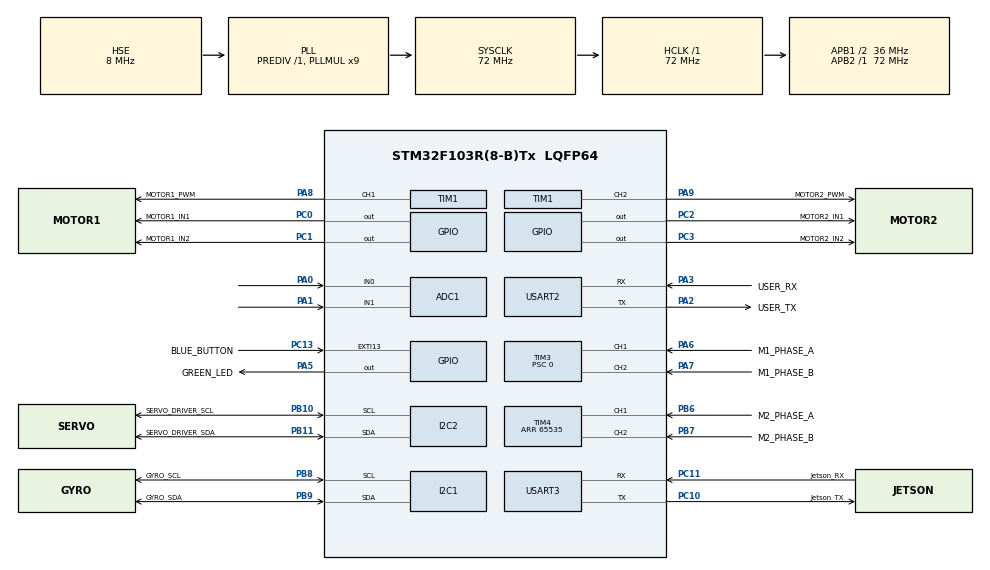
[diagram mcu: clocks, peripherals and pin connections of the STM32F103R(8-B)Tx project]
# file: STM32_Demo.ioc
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ADC1.Channel-0\#ChannelRegularConversion=ADC_CHANNEL_0
ADC1.Channel-1\#ChannelRegularConversion=ADC_CHANNEL_1
ADC1.NbrOfConversion=2
ADC1.NbrOfConversionFlag=1
ADC1.Rank-0\#ChannelRegularConversion=1
ADC1.Rank-1\#ChannelRegularConversion=2
ADC1.SamplingTime-0\#ChannelRegularConversion=ADC_SAMPLETIME_1CYCLE_5
ADC1.SamplingTime-1\#ChannelRegularConversion=ADC_SAMPLETIME_1CYCLE_5
ADC1.master=1
Dma.ADC1.0.Direction=DMA_PERIPH_TO_MEMORY
Dma.ADC1.0.Instance=DMA1_Channel1
Dma.ADC1.0.MemDataAlignment=DMA_MDATAALIGN_WORD
Dma.ADC1.0.MemInc=DMA_MINC_ENABLE
Dma.ADC1.0.Mode=DMA_CIRCULAR
Dma.ADC1.0.PeriphDataAlignment=DMA_PDATAALIGN_WORD
Dma.ADC1.0.PeriphInc=DMA_PINC_DISABLE
Dma.ADC1.0.Priority=DMA_PRIORITY_LOW
Dma.Request0=ADC1
Dma.Request1=USART3_RX
Dma.USART3_RX.1.Direction=DMA_PERIPH_TO_MEMORY
Dma.USART3_RX.1.Instance=DMA1_Channel3
Dma.USART3_RX.1.MemDataAlignment=DMA_MDATAALIGN_BYTE
Dma.USART3_RX.1.MemInc=DMA_MINC_ENABLE
Dma.USART3_RX.1.Mode=DMA_NORMAL
Dma.USART3_RX.1.PeriphDataAlignment=DMA_PDATAALIGN_BYTE
Dma.USART3_RX.1.PeriphInc=DMA_PINC_DISABLE
Dma.USART3_RX.1.Priority=DMA_PRIORITY_VERY_HIGH
IWDG.Prescaler=IWDG_PRESCALER_32
Mcu.Family=STM32F1
Mcu.Name=STM32F103R(8-B)Tx
Mcu.Package=LQFP64
NVIC.DMA1_Channel1_IRQn=true\:0\:0\:false\:false\:true\:false\:true
NVIC.DMA1_Channel3_IRQn=true\:0\:0\:false\:false\:true\:false\:true
NVIC.EXTI15_10_IRQn=true\:0\:0\:false\:false\:true\:true\:true
NVIC.PriorityGroup=NVIC_PRIORITYGROUP_4
NVIC.TIM2_IRQn=true\:0\:0\:false\:false\:true\:true\:true
NVIC.USART3_IRQn=true\:0\:0\:false\:false\:true\:true\:true
PA0-WKUP.Signal=ADCx_IN0
PA1.Signal=ADCx_IN1
PA13.GPIO_Label=TMS
PA13.Mode=Serial_Wire
PA13.Signal=SYS_JTMS-SWDIO
PA14.GPIO_Label=TCK
PA14.Mode=Serial_Wire
PA14.Signal=SYS_JTCK-SWCLK
PA2.GPIO_Label=USER_TX
PA2.GPIO_Mode=GPIO_MODE_AF_PP
PA2.GPIO_PuPd=GPIO_NOPULL
PA2.GPIO_Speed=GPIO_SPEED_FREQ_LOW
PA2.Mode=Asynchronous
PA2.Signal=USART2_TX
PA3.GPIO_Label=USER_RX
PA3.GPIO_Mode=GPIO_MODE_AF_PP
PA3.GPIO_PuPd=GPIO_NOPULL
PA3.GPIO_Speed=GPIO_SPEED_FREQ_LOW
PA3.Mode=Asynchronous
PA3.Signal=USART2_RX
PA5.GPIO_Label=GREEN_LED
PA5.GPIO_ModeDefaultOutputPP=GPIO_MODE_OUTPUT_PP
PA5.GPIO_PuPd=GPIO_NOPULL
PA5.GPIO_Speed=GPIO_SPEED_FREQ_LOW
PA5.Signal=GPIO_Output
PA6.GPIO_Label=M1_PHASE_A
PA6.Signal=S_TIM3_CH1
PA7.GPIO_Label=M1_PHASE_B
PA7.Signal=S_TIM3_CH2
PA8.GPIO_Label=MOTOR1_PWM
PA8.Signal=S_TIM1_CH1
PA9.GPIO_Label=MOTOR2_PWM
PA9.Signal=S_TIM1_CH2
PB10.GPIO_Label=SERVO_DRIVER_SCL
PB10.Mode=I2C
PB10.Signal=I2C2_SCL
PB11.GPIO_Label=SERVO_DRIVER_SDA
PB11.Mode=I2C
PB11.Signal=I2C2_SDA
PB6.GPIO_Label=M2_PHASE_A
PB6.Signal=S_TIM4_CH1
PB7.GPIO_Label=M2_PHASE_B
PB7.Signal=S_TIM4_CH2
PB8.GPIO_Label=GYRO_SCL
PB8.Mode=I2C
PB8.Signal=I2C1_SCL
PB9.GPIO_Label=GYRO_SDA
PB9.Mode=I2C
PB9.Signal=I2C1_SDA
PC0.GPIO_Label=MOTOR1_IN1
PC0.Signal=GPIO_Output
PC1.GPIO_Label=MOTOR1_IN2
PC1.Signal=GPIO_Output
PC10.GPIO_Label=Jetson_TX
PC10.Mode=Asynchronous
PC10.Signal=USART3_TX
PC11.GPIO_Label=Jetson_RX
PC11.Mode=Asynchronous
PC11.Signal=USART3_RX
PC13-TAMPER-RTC.GPIO_Label=BLUE_BUTTON
PC13-TAMPER-RTC.GPIO_PuPd=GPIO_NOPULL
PC13-TAMPER-RTC.Signal=GPXTI13
PC14-OSC32_IN.Mode=LSE-External-Oscillator
PC14-OSC32_IN.Signal=RCC_OSC32_IN
PC15-OSC32_OUT.Mode=LSE-External-Oscillator
PC15-OSC32_OUT.Signal=RCC_OSC32_OUT
PC2.GPIO_Label=MOTOR2_IN1
PC2.Signal=GPIO_Output
PC3.GPIO_Label=MOTOR2_IN2
PC3.Signal=GPIO_Output
PD0-OSC_IN.Mode=HSE-External-Clock-Source
PD0-OSC_IN.Signal=RCC_OSC_IN
PD1-OSC_OUT.Mode=HSE-External-Clock-Source
PD1-OSC_OUT.Signal=RCC_OSC_OUT
ProjectManager.HeapSize=0x200
ProjectManager.StackSize=0x400
ProjectManager.TargetToolchain=MDK-ARM V5
RCC.ADCPresc=RCC_ADCPCLK2_DIV6
RCC.AHBFreq_Value=72000000
RCC.APB1CLKDivider=RCC_HCLK_DIV2
RCC.APB1Freq_Value=36000000
RCC.APB1TimFreq_Value=72000000
RCC.APB2Freq_Value=72000000
RCC.APB2TimFreq_Value=72000000
RCC.HCLKFreq_Value=72000000
RCC.PLLMUL=RCC_PLL_MUL9
RCC.PLLSourceVirtual=RCC_PLLSOURCE_HSE
RCC.RTCClockSelection=RCC_RTCCLKSOURCE_LSE
RCC.SYSCLKFreq_VALUE=72000000
RCC.SYSCLKSource=RCC_SYSCLKSOURCE_PLLCLK
RCC.USBFreq_Value=72000000
SH.ADCx_IN0.0=ADC1_IN0,IN0
SH.ADCx_IN1.0=ADC1_IN1,IN1
SH.S_TIM1_CH1.0=TIM1_CH1,PWM Generation1 CH1
SH.S_TIM1_CH2.0=TIM1_CH2,PWM Generation2 CH2
SH.S_TIM3_CH1.0=TIM3_CH1,Encoder_Interface
SH.S_TIM3_CH2.0=TIM3_CH2,Encoder_Interface
SH.S_TIM4_CH1.0=TIM4_CH1,Encoder_Interface
SH.S_TIM4_CH2.0=TIM4_CH2,Encoder_Interface
TIM1.Channel-PWM\ Generation1\ CH1=TIM_CHANNEL_1
TIM1.Channel-PWM\ Generation2\ CH2=TIM_CHANNEL_2
TIM1.Period=3600
TIM1.Prescaler=20
TIM2.Period=709
TIM2.Prescaler=1024
TIM3.EncoderMode=TIM_ENCODERMODE_TI12
TIM3.IC1Filter=10
TIM3.IC2Filter=10
TIM3.Period=65535
TIM3.Prescaler=0
TIM4.EncoderMode=TIM_ENCODERMODE_TI12
TIM4.Period=65535
USART2.VirtualMode=VM_ASYNC
USART3.VirtualMode=VM_ASYNC
VP_IWDG_VS_IWDG.Mode=IWDG_Activate
VP_TIM1_VS_ClockSourceINT.Mode=Internal
VP_TIM2_VS_ClockSourceINT.Mode=Internal
board=NUCLEO-F103RB

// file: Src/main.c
/* USER CODE BEGIN Header */
/**
  ******************************************************************************
  * @file           : main.c
  * @brief          : Main program body
	* @author         : Chan Tai Wing Vincent
	* @remark         : Kindest people in the world
  ******************************************************************************
  * @attention
  *
  * <h2><center>&copy; Copyright (c) 2021 STMicroelectronics.
  * All rights reserved.</center></h2>
  *
  * This software component is licensed by ST under BSD 3-Clause license,
  * the "License"; You may not use this file except in compliance with the
  * License. You may obtain a copy of the License at:
  *                        opensource.org/licenses/BSD-3-Clause
  *
  ******************************************************************************
  */
/* USER CODE END Header */
#include "main.h"

/* USER CODE BEGIN Includes */
#include <string.h>
#include <stdio.h>
#include "stdbool.h"
#include "mpu6050.h"
#include "pca9685_servo.h"
/* USER CODE END Includes */

/* USER CODE BEGIN PTD */
#define MIN(x,y) ((x<y)?x:y)
#define MAX(x,y) (x>y ?x:y)
#define BUFFER_SIZE 15
/* USER CODE END PTD */

ADC_HandleTypeDef hadc1;
DMA_HandleTypeDef hdma_adc1;

I2C_HandleTypeDef hi2c1;
I2C_HandleTypeDef hi2c2;

IWDG_HandleTypeDef hiwdg;

TIM_HandleTypeDef htim1;
TIM_HandleTypeDef htim2;
TIM_HandleTypeDef htim3;
TIM_HandleTypeDef htim4;

UART_HandleTypeDef huart2;
UART_HandleTypeDef huart3;
DMA_HandleTypeDef hdma_usart3_rx;

/* USER CODE BEGIN PV */
//@Timer Variables
volatile int TIMER_COUNTER = 0;

//@GPU Message Variables
unsigned char UART_RX_BUFFER[BUFFER_SIZE] = {0};
unsigned char UART_TX_BUFFER[BUFFER_SIZE] = {0};

volatile int MSG_COUNTER = 0;
int LANE_DISTANCE = 0;
int TARGET_X = 0;
int TARGET_Y = 0;

volatile bool SAMPLE_FLAG = false;
enum TRAFFIC_TYPE{STOP,LEFT,RIGHT,UNKOWN};
enum TRAFFIC_TYPE TRAFFIC_STATUS = UNKOWN;
//@GPU Message Variables

//@Fuzzy Logic Stabilizer Varibles
MPU6050_t MPU6050;                           //Create MPU6050 Object

volatile bool MPU_Sampling = false;          //flag to control sampling of MPU6050
bool average_filter = false;                 //flag to control average filtering
bool plot_curve = true;                      //flag to enable/disable curve plotting

int counter = 0;                             //sample taking counter
const int num_samples = 200;                 //number of samples for taking average

double Kalman_X_buffer = 0;                  //Storing num_samples of Kalman_X to perform averaging
double Kalman_Y_buffer = 0;                  //Storing num_samples of Kalman_Y to perform averaging

double offset_x;                             //noise remoiving from Kalman_X
double offset_y;                             //noise removing from Kalman_Y

double X_output;                             //Resultant X
double Y_output;                             //Resultant Y

enum servo_motor_type{raw_servo=0,pitch_servo=2,steering_servo=3};       //Servo motor index related to PCA9685

const int raw_init_angle = 91;                          //Initial raw angle for stabilizer   (make X_output = 0)
const int pitch_init_angle = 98;                        //Initial pitch angle for stabilizer( make Y_output = 0)

const int pitch_max = 15;                               //Mechanical limitation (please confirm with ME designer)
const int pitch_min = -15;                              //Mechanical limitation (please confirm with ME designer)

const int raw_max = 15;                                 //Mechanical limitation (please confirm with ME designer)
const int raw_min = -15;                                //Mechanical limitation (please confirm with ME designer)

int adjust_servo_pitch = 0;		                          //Fuzzy Logic Output of pitch
int servo_control_pitch = pitch_init_angle;             //Operation angle of servo motor (pitch)
int servo_control_pitch_old = 0;                        //Previous operation angle of servo motor (pitch)

int adjust_servo_raw = 0;                               //Fuzzy Logic Output of raw
int servo_control_raw = raw_init_angle;                 //Operation angle of servo motor (raw)
int servo_control_raw_old = 0;                          //Previous operation angle of servo motor (raw)

/*
When pitch_init_angle + pitch_max => KalmanX = 15
When pitch_init_angle + pitch_min => KalmanX = -15
When raw_init_angle   + raw_max   => KalmanY = 15
When raw_init_angle   + raw_min   => KalmanY = -15
*/

//@Fuzzy Logic Stabilizer Varibles

/* USER CODE END PV */

void SystemClock_Config(void);
static void MX_GPIO_Init(void);
static void MX_DMA_Init(void);
static void MX_USART2_UART_Init(void);
static void MX_I2C2_Init(void);
static void MX_TIM2_Init(void);
static void MX_TIM3_Init(void);
static void MX_TIM4_Init(void);
static void MX_USART3_UART_Init(void);
static void MX_TIM1_Init(void);
static void MX_IWDG_Init(void);
static void MX_ADC1_Init(void);
static void MX_I2C1_Init(void);
/* USER CODE BEGIN PFP */
void gpu_msg_analyzer(void);

int calculate_MOTOR_PWM(unsigned char percentage);                              //Robot PWM Calculation
void robot_forward(int speed);                                                  //Robot Control -> Forward
void robot_stop(void);                                                          //Robot Control -> Stop
void robot_adjust(int motor1_speed, int motor2_speed);                          //Robot Control -> Adjustable

float trimf(float measurement, float start, float peak, float end);             //Fuzzy Logic: triangular membership function
float Rmf(float measurement, float top, float bottom);                          //Fuzzy Logic: R membership function
float Lmf(float measurement, float bottom, float top);                          //Fuzzy Logic: L membership function
float trapmf(float measurement, float start,float top_1,float top_2,float end); //Fuzzy Logic: trapezodial membership function

int raw_FLC(double error);                                                      //raw fuzzy logic controller
int pitch_FLC(double error);                                                    //pitch fuzzy logic controller
/* USER CODE END PFP */

/* USER CODE BEGIN 0 */
#ifdef __GNUC__
 #define PUTCHAR_PROTOTYPE int __io_putchar(int ch)
#else
 #define PUTCHAR_PROTOTYPE int fputc(int ch, FILE *f)
#endif /* __GNUC__ */
PUTCHAR_PROTOTYPE
{
	HAL_UART_Transmit(&huart2,(uint8_t*)&ch,1,0xFFFF);
	return ch;
}
/* USER CODE END 0 */

int main(void)
{

  /* MCU Configuration--------------------------------------------------------*/

  /* Reset of all peripherals, Initializes the Flash interface and the Systick. */
  HAL_Init();

  /* Configure the system clock */
  SystemClock_Config();

  /* Initialize all configured peripherals */
  MX_GPIO_Init();
  MX_DMA_Init();
  MX_USART2_UART_Init();
  MX_I2C2_Init();
  MX_TIM2_Init();
  MX_TIM3_Init();
  MX_TIM4_Init();
  MX_USART3_UART_Init();
  MX_TIM1_Init();
  MX_IWDG_Init();
  MX_ADC1_Init();
  MX_I2C1_Init();
  /* USER CODE BEGIN 2 */
  printf("[SYSTEM] Humane Help START...\r\n");                                     //Print startup function
	printf("[SYSTEM] Connecting to MPU6050...\r\n");

	HAL_UART_Receive_DMA(&huart3,UART_RX_BUFFER,BUFFER_SIZE);                       //Receive Jetson AI Message
  HAL_TIM_Base_Start_IT(&htim2);                                                  //Start Timer interrupt [100Hz]
	HAL_TIM_PWM_Start(&htim1,TIM_CHANNEL_1);                                        //PWM for Control Motor1
	HAL_TIM_PWM_Start(&htim1,TIM_CHANNEL_2);                                        //PWM for Control Motor2

	PCA9685_Go();                 //PCA9685 Initialization
	SetPWMFreq(50);               //Set Servo PWM Frequency
	setServo(0,calculate_PWM(0)); //Set Initial Angle
	HAL_Delay(200);               //Delay for SERVO response

	//Connect MPU6050
  //while (MPU6050_Init(&hi2c1) == 1);
	printf("[SYSTEM] MPU6050 Connected...\r\n");
  /* USER CODE END 2 */

  /* Infinite loop */
  /* USER CODE BEGIN WHILE */
  while (1)
  {
		//if(MPU_Sampling) //Enable MPU6050
		if(false)          //Disble MPU6050
		{
			//Read MPU6050 value and processed by Kalman Filter
      MPU6050_Read_All(&hi2c1,&MPU6050);
			//Average Filter
			if(!average_filter)
			{
				//When average filer is not executed
				Kalman_Y_buffer += MPU6050.KalmanAngleY;
				Kalman_X_buffer += MPU6050.KalmanAngleX;
				if(!plot_curve)
				{
				  printf("[LOG] Counter:%d | Kalman Filter: Enabled | Average Filter: Pending\r\n",counter);
				  printf("[LOG] X: %.2f degree | Y: %.2f degree\r\n",MPU6050.KalmanAngleX,MPU6050.KalmanAngleY);
				  printf("[SYSTEM]Please do not move your gyro sensor!\r\n");
				}else{
					printf("$%d %d;\r\n",(int)MPU6050.KalmanAngleX,(int)MPU6050.KalmanAngleY);
				}
			}else{
				//When average filter is ready
				X_output = MPU6050.KalmanAngleX - offset_x;
				Y_output = MPU6050.KalmanAngleY - offset_y;
				if(!plot_curve)
				{
				  printf("[LOG] Smoothed X: %.2f | Smoothed Y: %.2f\r\n",X_output,Y_output);
				}else{
					printf("$%d %d;\r\n",(int)X_output,(int)Y_output);
				}

				//Fuzzy Logic Balancing
				adjust_servo_pitch = pitch_FLC(X_output);
				servo_control_pitch += adjust_servo_pitch;

				adjust_servo_raw = raw_FLC(Y_output);
				servo_control_raw += adjust_servo_raw;

				//Protection (Pitch servo)
				if(servo_control_pitch>=(pitch_init_angle+pitch_max))
				{
					servo_control_pitch = pitch_init_angle+pitch_max;
				}
				if(servo_control_pitch<=(pitch_init_angle+pitch_min))
				{
					servo_control_pitch = pitch_init_angle+pitch_min;
				}
				//Protection (Raw servo)
				if(servo_control_raw>=(raw_init_angle+raw_max))
				{
					servo_control_raw = raw_init_angle+raw_max;
				}
				if(servo_control_raw<=(raw_init_angle+raw_min))
				{
					servo_control_raw = raw_init_angle+raw_min;
				}
				//Adjustment
				if(!plot_curve)	printf("servo_control[pitch]:%d   servo_control[raw]:%d\r\n",servo_control_pitch,servo_control_raw);
				setServo(pitch_servo,calculate_PWM(servo_control_pitch));
				setServo(raw_servo,calculate_PWM(servo_control_raw));
        HAL_Delay(200);
				servo_control_pitch_old = servo_control_pitch;
				servo_control_raw_old = servo_control_raw;
			}

			//Find average offset
			if((counter==num_samples)&&(!average_filter))
			{
				//These statements will only be executed once after taking num_samples, then disable.
				average_filter = true;
				offset_x = Kalman_X_buffer/num_samples;
				offset_y = Kalman_Y_buffer/num_samples;
			}
			printf("\r\n");
			counter++;
		}

		//Robot Control//
		robot_forward(30);

		//Robot Control//

    /* USER CODE END WHILE */

    /* USER CODE BEGIN 3 */
		HAL_IWDG_Refresh(&hiwdg); //Limit: 3.2 seconds
  }
  /* USER CODE END 3 */
}

void SystemClock_Config(void)
{
  RCC_OscInitTypeDef RCC_OscInitStruct = {0};
  RCC_ClkInitTypeDef RCC_ClkInitStruct = {0};
  RCC_PeriphCLKInitTypeDef PeriphClkInit = {0};

  /** Initializes the RCC Oscillators according to the specified parameters
  * in the RCC_OscInitTypeDef structure.
  */
  RCC_OscInitStruct.OscillatorType = RCC_OSCILLATORTYPE_LSI|RCC_OSCILLATORTYPE_HSE;
  RCC_OscInitStruct.HSEState = RCC_HSE_BYPASS;
  RCC_OscInitStruct.HSEPredivValue = RCC_HSE_PREDIV_DIV1;
  RCC_OscInitStruct.HSIState = RCC_HSI_ON;
  RCC_OscInitStruct.LSIState = RCC_LSI_ON;
  RCC_OscInitStruct.PLL.PLLState = RCC_PLL_ON;
  RCC_OscInitStruct.PLL.PLLSource = RCC_PLLSOURCE_HSE;
  RCC_OscInitStruct.PLL.PLLMUL = RCC_PLL_MUL9;
  if (HAL_RCC_OscConfig(&RCC_OscInitStruct) != HAL_OK)
  {
    Error_Handler();
  }
  /** Initializes the CPU, AHB and APB buses clocks
  */
  RCC_ClkInitStruct.ClockType = RCC_CLOCKTYPE_HCLK|RCC_CLOCKTYPE_SYSCLK
                              |RCC_CLOCKTYPE_PCLK1|RCC_CLOCKTYPE_PCLK2;
  RCC_ClkInitStruct.SYSCLKSource = RCC_SYSCLKSOURCE_PLLCLK;
  RCC_ClkInitStruct.AHBCLKDivider = RCC_SYSCLK_DIV1;
  RCC_ClkInitStruct.APB1CLKDivider = RCC_HCLK_DIV2;
  RCC_ClkInitStruct.APB2CLKDivider = RCC_HCLK_DIV1;

  if (HAL_RCC_ClockConfig(&RCC_ClkInitStruct, FLASH_LATENCY_2) != HAL_OK)
  {
    Error_Handler();
  }
  PeriphClkInit.PeriphClockSelection = RCC_PERIPHCLK_ADC;
  PeriphClkInit.AdcClockSelection = RCC_ADCPCLK2_DIV6;
  if (HAL_RCCEx_PeriphCLKConfig(&PeriphClkInit) != HAL_OK)
  {
    Error_Handler();
  }
}

static void MX_ADC1_Init(void)
{

  ADC_ChannelConfTypeDef sConfig = {0};

  /** Common config
  */
  hadc1.Instance = ADC1;
  hadc1.Init.ScanConvMode = ADC_SCAN_ENABLE;
  hadc1.Init.ContinuousConvMode = DISABLE;
  hadc1.Init.DiscontinuousConvMode = DISABLE;
  hadc1.Init.ExternalTrigConv = ADC_SOFTWARE_START;
  hadc1.Init.DataAlign = ADC_DATAALIGN_RIGHT;
  hadc1.Init.NbrOfConversion = 2;
  if (HAL_ADC_Init(&hadc1) != HAL_OK)
  {
    Error_Handler();
  }
  /** Configure Regular Channel
  */
  sConfig.Channel = ADC_CHANNEL_0;
  sConfig.Rank = ADC_REGULAR_RANK_1;
  sConfig.SamplingTime = ADC_SAMPLETIME_1CYCLE_5;
  if (HAL_ADC_ConfigChannel(&hadc1, &sConfig) != HAL_OK)
  {
    Error_Handler();
  }
  /** Configure Regular Channel
  */
  sConfig.Channel = ADC_CHANNEL_1;
  sConfig.Rank = ADC_REGULAR_RANK_2;
  if (HAL_ADC_ConfigChannel(&hadc1, &sConfig) != HAL_OK)
  {
    Error_Handler();
  }

}

static void MX_I2C1_Init(void)
{

  hi2c1.Instance = I2C1;
  hi2c1.Init.ClockSpeed = 100000;
  hi2c1.Init.DutyCycle = I2C_DUTYCYCLE_2;
  hi2c1.Init.OwnAddress1 = 0;
  hi2c1.Init.AddressingMode = I2C_ADDRESSINGMODE_7BIT;
  hi2c1.Init.DualAddressMode = I2C_DUALADDRESS_DISABLE;
  hi2c1.Init.OwnAddress2 = 0;
  hi2c1.Init.GeneralCallMode = I2C_GENERALCALL_DISABLE;
  hi2c1.Init.NoStretchMode = I2C_NOSTRETCH_DISABLE;
  if (HAL_I2C_Init(&hi2c1) != HAL_OK)
  {
    Error_Handler();
  }

}

static void MX_I2C2_Init(void)
{

  hi2c2.Instance = I2C2;
  hi2c2.Init.ClockSpeed = 100000;
  hi2c2.Init.DutyCycle = I2C_DUTYCYCLE_2;
  hi2c2.Init.OwnAddress1 = 0;
  hi2c2.Init.AddressingMode = I2C_ADDRESSINGMODE_7BIT;
  hi2c2.Init.DualAddressMode = I2C_DUALADDRESS_DISABLE;
  hi2c2.Init.OwnAddress2 = 0;
  hi2c2.Init.GeneralCallMode = I2C_GENERALCALL_DISABLE;
  hi2c2.Init.NoStretchMode = I2C_NOSTRETCH_DISABLE;
  if (HAL_I2C_Init(&hi2c2) != HAL_OK)
  {
    Error_Handler();
  }

}

static void MX_IWDG_Init(void)
{

  hiwdg.Instance = IWDG;
  hiwdg.Init.Prescaler = IWDG_PRESCALER_32;
  hiwdg.Init.Reload = 4095;
  if (HAL_IWDG_Init(&hiwdg) != HAL_OK)
  {
    Error_Handler();
  }

}

static void MX_TIM1_Init(void)
{

  TIM_ClockConfigTypeDef sClockSourceConfig = {0};
  TIM_MasterConfigTypeDef sMasterConfig = {0};
  TIM_OC_InitTypeDef sConfigOC = {0};
  TIM_BreakDeadTimeConfigTypeDef sBreakDeadTimeConfig = {0};

  htim1.Instance = TIM1;
  htim1.Init.Prescaler = 20;
  htim1.Init.CounterMode = TIM_COUNTERMODE_UP;
  htim1.Init.Period = 3600;
  htim1.Init.ClockDivision = TIM_CLOCKDIVISION_DIV1;
  htim1.Init.RepetitionCounter = 0;
  htim1.Init.AutoReloadPreload = TIM_AUTORELOAD_PRELOAD_DISABLE;
  if (HAL_TIM_Base_Init(&htim1) != HAL_OK)
  {
    Error_Handler();
  }
  sClockSourceConfig.ClockSource = TIM_CLOCKSOURCE_INTERNAL;
  if (HAL_TIM_ConfigClockSource(&htim1, &sClockSourceConfig) != HAL_OK)
  {
    Error_Handler();
  }
  if (HAL_TIM_PWM_Init(&htim1) != HAL_OK)
  {
    Error_Handler();
  }
  sMasterConfig.MasterOutputTrigger = TIM_TRGO_RESET;
  sMasterConfig.MasterSlaveMode = TIM_MASTERSLAVEMODE_DISABLE;
  if (HAL_TIMEx_MasterConfigSynchronization(&htim1, &sMasterConfig) != HAL_OK)
  {
    Error_Handler();
  }
  sConfigOC.OCMode = TIM_OCMODE_PWM1;
  sConfigOC.Pulse = 0;
  sConfigOC.OCPolarity = TIM_OCPOLARITY_HIGH;
  sConfigOC.OCNPolarity = TIM_OCNPOLARITY_HIGH;
  sConfigOC.OCFastMode = TIM_OCFAST_DISABLE;
  sConfigOC.OCIdleState = TIM_OCIDLESTATE_RESET;
  sConfigOC.OCNIdleState = TIM_OCNIDLESTATE_RESET;
  if (HAL_TIM_PWM_ConfigChannel(&htim1, &sConfigOC, TIM_CHANNEL_1) != HAL_OK)
  {
    Error_Handler();
  }
  if (HAL_TIM_PWM_ConfigChannel(&htim1, &sConfigOC, TIM_CHANNEL_2) != HAL_OK)
  {
    Error_Handler();
  }
  sBreakDeadTimeConfig.OffStateRunMode = TIM_OSSR_DISABLE;
  sBreakDeadTimeConfig.OffStateIDLEMode = TIM_OSSI_DISABLE;
  sBreakDeadTimeConfig.LockLevel = TIM_LOCKLEVEL_OFF;
  sBreakDeadTimeConfig.DeadTime = 0;
  sBreakDeadTimeConfig.BreakState = TIM_BREAK_DISABLE;
  sBreakDeadTimeConfig.BreakPolarity = TIM_BREAKPOLARITY_HIGH;
  sBreakDeadTimeConfig.AutomaticOutput = TIM_AUTOMATICOUTPUT_DISABLE;
  if (HAL_TIMEx_ConfigBreakDeadTime(&htim1, &sBreakDeadTimeConfig) != HAL_OK)
  {
    Error_Handler();
  }
  HAL_TIM_MspPostInit(&htim1);

}

static void MX_TIM2_Init(void)
{

  TIM_ClockConfigTypeDef sClockSourceConfig = {0};
  TIM_MasterConfigTypeDef sMasterConfig = {0};

  htim2.Instance = TIM2;
  htim2.Init.Prescaler = 1024;
  htim2.Init.CounterMode = TIM_COUNTERMODE_UP;
  htim2.Init.Period = 709;
  htim2.Init.ClockDivision = TIM_CLOCKDIVISION_DIV1;
  htim2.Init.AutoReloadPreload = TIM_AUTORELOAD_PRELOAD_DISABLE;
  if (HAL_TIM_Base_Init(&htim2) != HAL_OK)
  {
    Error_Handler();
  }
  sClockSourceConfig.ClockSource = TIM_CLOCKSOURCE_INTERNAL;
  if (HAL_TIM_ConfigClockSource(&htim2, &sClockSourceConfig) != HAL_OK)
  {
    Error_Handler();
  }
  sMasterConfig.MasterOutputTrigger = TIM_TRGO_RESET;
  sMasterConfig.MasterSlaveMode = TIM_MASTERSLAVEMODE_DISABLE;
  if (HAL_TIMEx_MasterConfigSynchronization(&htim2, &sMasterConfig) != HAL_OK)
  {
    Error_Handler();
  }

}

static void MX_TIM3_Init(void)
{

  TIM_Encoder_InitTypeDef sConfig = {0};
  TIM_MasterConfigTypeDef sMasterConfig = {0};

  htim3.Instance = TIM3;
  htim3.Init.Prescaler = 0;
  htim3.Init.CounterMode = TIM_COUNTERMODE_UP;
  htim3.Init.Period = 65535;
  htim3.Init.ClockDivision = TIM_CLOCKDIVISION_DIV1;
  htim3.Init.AutoReloadPreload = TIM_AUTORELOAD_PRELOAD_DISABLE;
  sConfig.EncoderMode = TIM_ENCODERMODE_TI12;
  sConfig.IC1Polarity = TIM_ICPOLARITY_RISING;
  sConfig.IC1Selection = TIM_ICSELECTION_DIRECTTI;
  sConfig.IC1Prescaler = TIM_ICPSC_DIV1;
  sConfig.IC1Filter = 10;
  sConfig.IC2Polarity = TIM_ICPOLARITY_RISING;
  sConfig.IC2Selection = TIM_ICSELECTION_DIRECTTI;
  sConfig.IC2Prescaler = TIM_ICPSC_DIV1;
  sConfig.IC2Filter = 10;
  if (HAL_TIM_Encoder_Init(&htim3, &sConfig) != HAL_OK)
  {
    Error_Handler();
  }
  sMasterConfig.MasterOutputTrigger = TIM_TRGO_RESET;
  sMasterConfig.MasterSlaveMode = TIM_MASTERSLAVEMODE_DISABLE;
  if (HAL_TIMEx_MasterConfigSynchronization(&htim3, &sMasterConfig) != HAL_OK)
  {
    Error_Handler();
  }

}

static void MX_TIM4_Init(void)
{

  TIM_Encoder_InitTypeDef sConfig = {0};
  TIM_MasterConfigTypeDef sMasterConfig = {0};

  htim4.Instance = TIM4;
  htim4.Init.Prescaler = 0;
  htim4.Init.CounterMode = TIM_COUNTERMODE_UP;
  htim4.Init.Period = 65535;
  htim4.Init.ClockDivision = TIM_CLOCKDIVISION_DIV1;
  htim4.Init.AutoReloadPreload = TIM_AUTORELOAD_PRELOAD_DISABLE;
  sConfig.EncoderMode = TIM_ENCODERMODE_TI12;
  sConfig.IC1Polarity = TIM_ICPOLARITY_RISING;
  sConfig.IC1Selection = TIM_ICSELECTION_DIRECTTI;
  sConfig.IC1Prescaler = TIM_ICPSC_DIV1;
  sConfig.IC1Filter = 0;
  sConfig.IC2Polarity = TIM_ICPOLARITY_RISING;
  sConfig.IC2Selection = TIM_ICSELECTION_DIRECTTI;
  sConfig.IC2Prescaler = TIM_ICPSC_DIV1;
  sConfig.IC2Filter = 0;
  if (HAL_TIM_Encoder_Init(&htim4, &sConfig) != HAL_OK)
  {
    Error_Handler();
  }
  sMasterConfig.MasterOutputTrigger = TIM_TRGO_RESET;
  sMasterConfig.MasterSlaveMode = TIM_MASTERSLAVEMODE_DISABLE;
  if (HAL_TIMEx_MasterConfigSynchronization(&htim4, &sMasterConfig) != HAL_OK)
  {
    Error_Handler();
  }

}

static void MX_USART2_UART_Init(void)
{

  huart2.Instance = USART2;
  huart2.Init.BaudRate = 115200;
  huart2.Init.WordLength = UART_WORDLENGTH_8B;
  huart2.Init.StopBits = UART_STOPBITS_1;
  huart2.Init.Parity = UART_PARITY_NONE;
  huart2.Init.Mode = UART_MODE_TX_RX;
  huart2.Init.HwFlowCtl = UART_HWCONTROL_NONE;
  huart2.Init.OverSampling = UART_OVERSAMPLING_16;
  if (HAL_UART_Init(&huart2) != HAL_OK)
  {
    Error_Handler();
  }

}

static void MX_USART3_UART_Init(void)
{

  huart3.Instance = USART3;
  huart3.Init.BaudRate = 115200;
  huart3.Init.WordLength = UART_WORDLENGTH_8B;
  huart3.Init.StopBits = UART_STOPBITS_1;
  huart3.Init.Parity = UART_PARITY_NONE;
  huart3.Init.Mode = UART_MODE_TX_RX;
  huart3.Init.HwFlowCtl = UART_HWCONTROL_NONE;
  huart3.Init.OverSampling = UART_OVERSAMPLING_16;
  if (HAL_UART_Init(&huart3) != HAL_OK)
  {
    Error_Handler();
  }

}

static void MX_DMA_Init(void)
{
  /* DMA controller clock enable */
  __HAL_RCC_DMA1_CLK_ENABLE();

  hdma_usart3_rx.Instance = DMA1_Channel3;
  hdma_usart3_rx.Init.Direction = DMA_PERIPH_TO_MEMORY;
  hdma_usart3_rx.Init.PeriphInc = DMA_PINC_DISABLE;
  hdma_usart3_rx.Init.MemInc = DMA_MINC_ENABLE;
  hdma_usart3_rx.Init.PeriphDataAlignment = DMA_MDATAALIGN_BYTE;
  hdma_usart3_rx.Init.MemDataAlignment = DMA_MDATAALIGN_BYTE;
  hdma_usart3_rx.Init.Mode = DMA_NORMAL;
  hdma_usart3_rx.Init.Priority = DMA_PRIORITY_HIGH;
  HAL_DMA_Init(&hdma_usart3_rx);

  __HAL_LINKDMA(&huart3,hdmatx,hdma_usart3_rx);
  /* DMA interrupt init */
  /* DMA1_Channel3_IRQn interrupt configuration */
  HAL_NVIC_SetPriority(DMA1_Channel3_IRQn, 0, 0);
  HAL_NVIC_EnableIRQ(DMA1_Channel3_IRQn);
}

static void MX_GPIO_Init(void)
{
  GPIO_InitTypeDef GPIO_InitStruct = {0};

  /* GPIO Ports Clock Enable */
  __HAL_RCC_GPIOC_CLK_ENABLE();
  __HAL_RCC_GPIOD_CLK_ENABLE();
  __HAL_RCC_GPIOA_CLK_ENABLE();
  __HAL_RCC_GPIOB_CLK_ENABLE();

  /*Configure GPIO pin Output Level */
  HAL_GPIO_WritePin(GPIOC, MOTOR1_IN1_Pin|MOTOR1_IN2_Pin|MOTOR2_IN1_Pin|MOTOR2_IN2_Pin, GPIO_PIN_RESET);

  /*Configure GPIO pin Output Level */
  HAL_GPIO_WritePin(GREEN_LED_GPIO_Port, GREEN_LED_Pin, GPIO_PIN_RESET);

  /*Configure GPIO pin : BLUE_BUTTON_Pin */
  GPIO_InitStruct.Pin = BLUE_BUTTON_Pin;
  GPIO_InitStruct.Mode = GPIO_MODE_IT_RISING;
  GPIO_InitStruct.Pull = GPIO_NOPULL;
  HAL_GPIO_Init(BLUE_BUTTON_GPIO_Port, &GPIO_InitStruct);

  /*Configure GPIO pins : MOTOR1_IN1_Pin MOTOR1_IN2_Pin MOTOR2_IN1_Pin MOTOR2_IN2_Pin */
  GPIO_InitStruct.Pin = MOTOR1_IN1_Pin|MOTOR1_IN2_Pin|MOTOR2_IN1_Pin|MOTOR2_IN2_Pin;
  GPIO_InitStruct.Mode = GPIO_MODE_OUTPUT_PP;
  GPIO_InitStruct.Pull = GPIO_NOPULL;
  GPIO_InitStruct.Speed = GPIO_SPEED_FREQ_LOW;
  HAL_GPIO_Init(GPIOC, &GPIO_InitStruct);

  /*Configure GPIO pin : GREEN_LED_Pin */
  GPIO_InitStruct.Pin = GREEN_LED_Pin;
  GPIO_InitStruct.Mode = GPIO_MODE_OUTPUT_PP;
  GPIO_InitStruct.Pull = GPIO_NOPULL;
  GPIO_InitStruct.Speed = GPIO_SPEED_FREQ_LOW;
  HAL_GPIO_Init(GREEN_LED_GPIO_Port, &GPIO_InitStruct);

  /* EXTI interrupt init*/
  HAL_NVIC_SetPriority(EXTI15_10_IRQn, 0, 0);
  HAL_NVIC_EnableIRQ(EXTI15_10_IRQn);

}

/* USER CODE BEGIN 4 */
void HAL_GPIO_EXTI_Callback(uint16_t GPIO_Pin)
{
	if(GPIO_Pin == BLUE_BUTTON_Pin)
	{
		HAL_GPIO_WritePin(MOTOR1_IN1_GPIO_Port,MOTOR1_IN1_Pin,GPIO_PIN_RESET);    //MOTOR1 I/O
		HAL_GPIO_WritePin(MOTOR1_IN2_GPIO_Port,MOTOR1_IN2_Pin,GPIO_PIN_RESET);    //MOTOR1 I/O
		__HAL_TIM_SET_COMPARE(&htim1,TIM_CHANNEL_1,calculate_MOTOR_PWM(0));       //MOTOR1 PWM
		HAL_GPIO_WritePin(MOTOR2_IN1_GPIO_Port,MOTOR2_IN1_Pin,GPIO_PIN_RESET);    //MOTOR2 I/O
		HAL_GPIO_WritePin(MOTOR2_IN2_GPIO_Port,MOTOR2_IN2_Pin,GPIO_PIN_RESET);    //MOTOR2 I/O
		__HAL_TIM_SET_COMPARE(&htim1,TIM_CHANNEL_2,calculate_MOTOR_PWM(0));       //MOTOR2 PWM
	}
}

void HAL_UART_RxCpltCallback(UART_HandleTypeDef *huart)
{
  if(huart==&huart3)
	{
		if(SAMPLE_FLAG == true)
		{
		  memcpy(UART_TX_BUFFER,UART_RX_BUFFER,BUFFER_SIZE);
			printf("MSG_INDEX:%d",MSG_COUNTER);
			printf("  Sampling Intervals:0.1s(10Hz)");
		  printf(" UART3-DMA-RX=");
		  printf("%s \r\n",UART_TX_BUFFER);
      gpu_msg_analyzer();
		  HAL_GPIO_TogglePin(GREEN_LED_GPIO_Port,GREEN_LED_Pin);
			SAMPLE_FLAG = false;
			MSG_COUNTER++;
		}
	  HAL_UART_Receive_DMA(&huart3,UART_RX_BUFFER,BUFFER_SIZE);
	}
}

void HAL_TIM_PeriodElapsedCallback(TIM_HandleTypeDef *htim) //Timer Interrupt
{
	if(htim==&htim2)
	{
		TIMER_COUNTER++;           //Add up itself every 0.01s
		if((TIMER_COUNTER%10)==0)  //0.01x10 = 0.1s
		{
			SAMPLE_FLAG = true;
		}
		if((TIMER_COUNTER%5)==0)  //0.01x5 = 0.05s
		{
			MPU_Sampling = !MPU_Sampling;
		}
	}
}

int calculate_MOTOR_PWM(unsigned char percentage)
{
	return (int)((percentage*3600)/100);
}

void gpu_msg_analyzer()
{
	printf("<---------------GPU MSG Breakdown--------------->\r\n");
	printf("MSG Header:%c\r\n",UART_TX_BUFFER[0]);
	int DIGIT_LANE_DISTANCE[3];
	DIGIT_LANE_DISTANCE[0] = (UART_TX_BUFFER[1]-'0')*100;
	DIGIT_LANE_DISTANCE[1] = (UART_TX_BUFFER[2]-'0')*10;
	DIGIT_LANE_DISTANCE[2] = (UART_TX_BUFFER[3]-'0')*1;
	LANE_DISTANCE = DIGIT_LANE_DISTANCE[0]+DIGIT_LANE_DISTANCE[1]+DIGIT_LANE_DISTANCE[2];
	int DIGIT_TARGET_X[3];
	DIGIT_TARGET_X[0] = (UART_TX_BUFFER[5]-'0')*100;
	DIGIT_TARGET_X[1] = (UART_TX_BUFFER[6]-'0')*10;
	DIGIT_TARGET_X[2] = (UART_TX_BUFFER[7]-'0')*1;
  TARGET_X = DIGIT_TARGET_X[0]+DIGIT_TARGET_X[1]+DIGIT_TARGET_X[2];
	int DIGIT_TARGET_Y[3];
	DIGIT_TARGET_Y[0] = (UART_TX_BUFFER[9]-'0')*100;
	DIGIT_TARGET_Y[1] = (UART_TX_BUFFER[10]-'0')*10;
	DIGIT_TARGET_Y[2] = (UART_TX_BUFFER[11]-'0')*1;
  TARGET_X = DIGIT_TARGET_X[0]+DIGIT_TARGET_X[1]+DIGIT_TARGET_X[2];
	TARGET_Y = DIGIT_TARGET_Y[0]+DIGIT_TARGET_Y[1]+DIGIT_TARGET_Y[2];
	printf("Lane Distance(LHS):%d\r\n",LANE_DISTANCE);
	printf("Target Object Coordinages:X=%d|Y=%d\r\n",TARGET_X,TARGET_Y);
	switch(UART_TX_BUFFER[12])
	{
		case 'S': TRAFFIC_STATUS = STOP;printf("Traffic Status = STOP\r\n");break;
		case 'L': TRAFFIC_STATUS = LEFT;printf("Traffic Status = LEFT\r\n");break;
		case 'R': TRAFFIC_STATUS = RIGHT;printf("Traffic Status = RIGHT\r\n");break;
		case 'X': TRAFFIC_STATUS = UNKOWN;printf("Traffic Status = UNKOWN\r\n");break;
	}
  printf("<----------------------DONE---------------------->\r\n");
	printf("\r\n");
}

void robot_forward(int speed)
{
	HAL_GPIO_WritePin(MOTOR1_IN1_GPIO_Port,MOTOR1_IN1_Pin,GPIO_PIN_SET);         //MOTOR1 I/O
	HAL_GPIO_WritePin(MOTOR1_IN2_GPIO_Port,MOTOR1_IN2_Pin,GPIO_PIN_RESET);       //MOTOR1 I/O
	__HAL_TIM_SET_COMPARE(&htim1,TIM_CHANNEL_1,calculate_MOTOR_PWM(speed));      //MOTOR1 PWM

	HAL_GPIO_WritePin(MOTOR2_IN1_GPIO_Port,MOTOR2_IN1_Pin,GPIO_PIN_SET);         //MOTOR2 I/O
	HAL_GPIO_WritePin(MOTOR2_IN2_GPIO_Port,MOTOR2_IN2_Pin,GPIO_PIN_RESET);       //MOTOR2 I/O
	__HAL_TIM_SET_COMPARE(&htim1,TIM_CHANNEL_2,calculate_MOTOR_PWM(speed));      //MOTOR2 PWM
}

void robot_stop(void)
{
	HAL_GPIO_WritePin(MOTOR1_IN1_GPIO_Port,MOTOR1_IN1_Pin,GPIO_PIN_RESET);     //MOTOR1 I/O
	HAL_GPIO_WritePin(MOTOR1_IN2_GPIO_Port,MOTOR1_IN2_Pin,GPIO_PIN_RESET);     //MOTOR1 I/O
	__HAL_TIM_SET_COMPARE(&htim1,TIM_CHANNEL_1,calculate_MOTOR_PWM(0));        //MOTOR1 PWM

	HAL_GPIO_WritePin(MOTOR2_IN1_GPIO_Port,MOTOR2_IN1_Pin,GPIO_PIN_RESET);     //MOTOR2 I/O
	HAL_GPIO_WritePin(MOTOR2_IN2_GPIO_Port,MOTOR2_IN2_Pin,GPIO_PIN_RESET);     //MOTOR2 I/O
	__HAL_TIM_SET_COMPARE(&htim1,TIM_CHANNEL_2,calculate_MOTOR_PWM(0));        //MOTOR2 PWM
}

void robot_adjust(int motor1_speed, int motor2_speed)
{
	HAL_GPIO_WritePin(MOTOR1_IN1_GPIO_Port,MOTOR1_IN1_Pin,GPIO_PIN_SET);              //MOTOR1 I/O
	HAL_GPIO_WritePin(MOTOR1_IN2_GPIO_Port,MOTOR1_IN2_Pin,GPIO_PIN_RESET);            //MOTOR1 I/O
	__HAL_TIM_SET_COMPARE(&htim1,TIM_CHANNEL_1,calculate_MOTOR_PWM(motor1_speed));    //MOTOR1 PWM

	HAL_GPIO_WritePin(MOTOR2_IN1_GPIO_Port,MOTOR2_IN1_Pin,GPIO_PIN_SET);              //MOTOR2 I/O
	HAL_GPIO_WritePin(MOTOR2_IN2_GPIO_Port,MOTOR2_IN2_Pin,GPIO_PIN_RESET);            //MOTOR2 I/O
	__HAL_TIM_SET_COMPARE(&htim1,TIM_CHANNEL_2,calculate_MOTOR_PWM(motor2_speed));    //MOTOR2 PWM
}

float trimf(float measurement, float start, float peak, float end)
{
	float fx = 0.0;
	//Triangular Membership Function
	//Remember: end > peak > start (these values are indicating x axis)
	if(measurement <= start) fx=0;
	if((measurement > start)&&(measurement <= peak))
	{
		fx = (measurement-start)/(peak-start);
	}
	if((measurement < end)&&(measurement > peak))
	{
		fx = (end-measurement)/(end-peak);
	}
	if(measurement >= end) fx = 0;
	return fx;
}

float Rmf(float measurement, float top, float bottom)
{
	float fx = 0.0;
	//Special Trapezodial function: R-function
	//Remember: bottom > top (these values are indicating x axis)
	if(measurement>bottom) fx = 0;
	if(measurement<top) fx = 1;
	if((measurement<=bottom)&&(measurement>=top))
	{
		fx = (bottom-measurement)/(bottom-top);
	}
	return fx;
}

float Lmf(float measurement, float bottom, float top)
{
	float fx = 0.0;
	//Special Trapezodial function: L-function
	//Remember: top > bottom (these values are indicating x axis)
	if(measurement<bottom) fx = 0;
	if(measurement>top) fx = 0;
	if((measurement>=bottom)&&(measurement<=top))
	{
		fx = (measurement-bottom)/(top-bottom);
	}
	return fx;
}

float trapmf(float measurement, float start,float top_1,float top_2,float end)
{
  float fx = 0.0;
	//Trapezodial function
	//Remember: start < top_1 < top_2 <end
	if((measurement < start)||(measurement > end)) fx = 0;
	if((measurement >= start)&&(measurement <= top_1))
	{
		fx = (measurement-start)/(top_1-start);
	}
	if((measurement>=top_1)&&(measurement<=top_2))
	{
		fx = 1;
	}
	if((measurement>=top_2)&&(measurement<=end))
	{
		fx = (end-measurement)/(end-top_2);
	}
	return fx;
}
int pitch_FLC(double error)
{
	double servo_adjust = 0;
	//This controller should try to keep Y_output = 0 (balance)

	//1.Fuzzification

	//define pitch input membership functions and levels
	//1. LN  -> Largely Negative         (the object is sliding down rapidly)
	//2. N   -> Negative                 (the object is still stationary)
	//3. Z   -> Zero                     (the object is stationary)
	//4. P   -> Positive                 (the object is sliding down slowly)
  //5. LP  -> Largely Positive         (the object is sliding down rapidly)

  //2.Inferencing

  double w1 = MAX(Rmf(error,-15,-4),trimf(error,-10,-6,0));        //Inference LN & N ->(OR)
	double w2 = MAX(trimf(error,-10,-6,0),trapmf(error,-6,-2,2,6));  //Inference N & Z  ->(OR)
	double w3 = MAX(trapmf(error,-6,-2,2,6),trimf(error,0,6,10));    //Inference Z & P  ->(OR)
	double w4 = MAX(trimf(error,0,6,10),Lmf(error,4,15));            //Inference P & LP ->(OR)

	double i = MAX(w1,w2); //Negative OR Zero    ->(OR)
	double j = MAX(w3,w4); //Positive OR Zero    ->(OR)

	printf("i:%.2f j:%.2f\r\n",i,j);
	//3.Defuzzification: Weighted Average Method

	//define servo adjustment membership functions and levels
	//1. XC  -> Clockwise
	//2. CC  -> Counterclockwise
  servo_adjust = (i*pitch_max+j*pitch_min);    //Find out ratio of clockwise and and counterclocwise
	if(!plot_curve)	printf("Servo_adjust: %.2f\r\n",servo_adjust);

	return servo_adjust;
}

int raw_FLC(double error)
{
	double servo_adjust = 0;
	//This controller should try to keep Y_output = 0 (balance)

	//1.Fuzzification

	//define pitch input membership functions and levels
	//1. LN  -> Largely Negative         (the object is sliding down rapidly)
	//2. N   -> Negative                 (the object is still stationary)
	//3. Z   -> Zero                     (the object is stationary)
	//4. P   -> Positive                 (the object is sliding down slowly)
  //5. LP  -> Largely Positive         (the object is sliding down rapidly)

  //2.Inferencing

  double w1 = MAX(Rmf(error,-15,-4),trimf(error,-10,-6,0));        //Inference LN & N ->(OR)
	double w2 = MAX(trimf(error,-10,-6,0),trapmf(error,-6,-2,2,6));  //Inference N & Z  ->(OR)
	double w3 = MAX(trapmf(error,-6,-2,2,6),trimf(error,0,6,10));    //Inference Z & P  ->(OR)
	double w4 = MAX(trimf(error,0,6,10),Lmf(error,4,15));            //Inference P & LP ->(OR)

	double i = MAX(w1,w2); //Negative OR Zero    ->(OR)
	double j = MAX(w3,w4); //Positive OR Zero    ->(OR)

	printf("i:%.2f j:%.2f\r\n",i,j);
	//3.Defuzzification: Weighted Average Method

	//define servo adjustment membership functions and levels
	//1. XC  -> Clockwise
	//2. CC  -> Counterclockwise
  servo_adjust = (i*pitch_max+j*pitch_min);    //Find out ratio of clockwise and and counterclocwise
	if(!plot_curve)	printf("Servo_adjust: %.2f\r\n",servo_adjust);

	return servo_adjust;
}
/* USER CODE END 4 */

void Error_Handler(void)
{
  /* USER CODE BEGIN Error_Handler_Debug */
  /* User can add his own implementation to report the HAL error return state */
  printf("[SYSTEM] Error! Please contact Vincent\r\n");
  /* USER CODE END Error_Handler_Debug */
}

/************************ (C) COPYRIGHT STMicroelectronics *****END OF FILE****/
